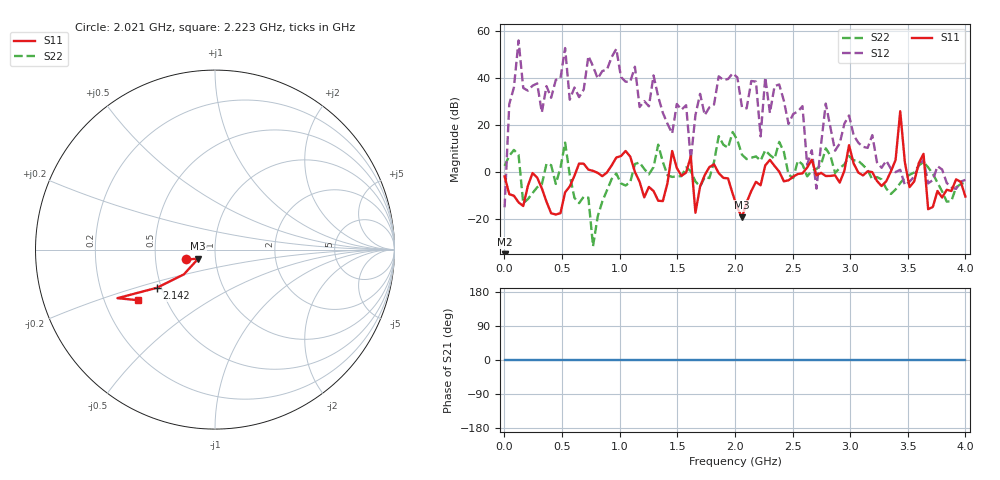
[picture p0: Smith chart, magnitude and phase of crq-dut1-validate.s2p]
!Created with skrf (http://scikit-rf.org).
# GHz S DB R 50.0
!freq dBS11 angS11 dBS21 angS21 dBS12 angS12 dBS22 angS22
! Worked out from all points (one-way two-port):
!   100 points, 1 MHz to 4 GHz, reference 50 ohm
!   highest |S21| = - dB at 1 MHz (marker M1); lowest = - dB at 1 MHz (marker M2)
!   lowest |S11| = -19.5 dB at 2.061 GHz (marker M3), VSWR 1.24, Z = 41.2 - j4.22 ohm
!   |S11| at or under -10 dB: 65.62 MHz to 184.5 MHz (118.9 MHz wide, 95.1 % of centre); 344.6 MHz to 520.6 MHz (176 MHz wide, 40.7 % of centre); 1.984 GHz to 2.127 GHz (142.8 MHz wide, 6.95 % of centre) (the widest 3 of 9)
!   |S22| runs from -31.8 to 16.9 dB; largest |S21 - S12| = 6.3e+02
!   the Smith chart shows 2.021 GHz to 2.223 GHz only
!   S11 on the Smith chart (normalised r, x): 2.021 GHz: 0.72, -0.08; 2.142 GHz: 0.47, -0.24; 2.223 GHz: 0.35, -0.27
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0.001  -2.01 -6.8  -200.00 0.0  -15.22 48.4  2.51 129.6
0.08178788  -10.27 -21.3  -200.00 0.0  35.96 -45.0  9.29 -6.8
0.1221818  -13.10 -49.4  -200.00 0.0  56.03 28.0  7.19 -140.3
0.1625758  -14.68 -111.3  -200.00 0.0  35.76 56.2  -13.42 -92.5
0.2029697  -6.08 -173.2  -200.00 0.0  34.60 149.6  -11.74 -14.0
0.4857273  -17.70 114.9  -200.00 0.0  39.92 164.6  1.70 2.6
0.5261212  -8.78 -60.1  -200.00 0.0  52.78 -41.8  12.40 -41.4
0.687697  3.39 -167.3  -200.00 0.0  35.07 156.3  -10.67 -38.8
0.7280909  0.88 -179.2  -200.00 0.0  49.37 -40.6  -11.08 -85.7
0.7684848  0.34 -179.6  -200.00 0.0  45.00 114.7  -31.80 -43.4
0.8492727  -1.92 -162.9  -200.00 0.0  42.97 60.7  -12.66 81.8
0.9704545  6.06 -176.2  -200.00 0.0  52.44 -173.6  -0.78 -12.3
1.010848  6.67 167.9  -200.00 0.0  40.39 90.1  -5.00 19.6
1.334  -12.39 139.7  -200.00 0.0  32.03 -53.0  11.54 40.4
1.980303  -9.39 -156.0  -200.00 0.0  41.99 169.5  16.94 22.4
2.020697  -15.39 -161.1  -200.00 0.0  40.26 -4.3  13.50 -37.8
2.061091  -19.46 -151.6  -200.00 0.0  27.52 -110.3  7.25 -26.7
2.141879  -8.24 -146.7  -200.00 0.0  38.71 -64.0  5.95 2.6
2.222667  -5.80 -146.6  -200.00 0.0  15.06 33.0  4.75 5.6
2.667  5.08 -12.4  -200.00 0.0  9.12 -152.8  0.29 6.9
3.353697  0.12 130.1  -200.00 0.0  1.22 -97.4  -9.50 -56.6
4  -10.59 70.2  -200.00 0.0  -3.50 148.9  -4.63 -57.0
